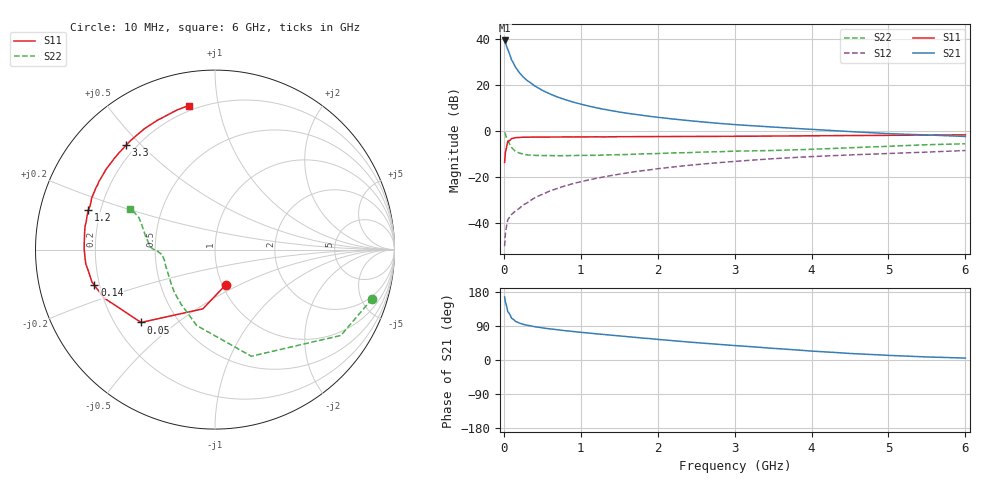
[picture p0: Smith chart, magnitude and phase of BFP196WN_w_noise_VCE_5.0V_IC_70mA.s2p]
! Infineon Technologies  Discrete & RF Semiconductors
! BFP196WN
! VCE =  5.0 V,  IC =  70 mA
! Common Emitter S-Parameters:  Jan 2017
# GHz  S  MA  R  50
!  f  S11  S21  S12  S22
! GHz  MAG  ANG  MAG  ANG  MAG  ANG  MAG  ANG
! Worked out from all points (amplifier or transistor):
!   77 points, 10 MHz to 6 GHz, reference 50 ohm
!   highest |S21| = 39.3 dB at 10 MHz (marker M1)
!   |S21| within 3 dB of that: start of sweep to 40.53 MHz
!   unconditionally stable (mu >= 1): 565.2 MHz to 2.628 GHz
!   at 130 MHz: K = 0.63, MSG = 32.3 dB, |S12| = -35.5 dB
!   at 2.2 GHz: K = 1.02, MAG = 9.7 dB, |S12| = -15.8 dB
!   at 6 GHz: K = 0.91, MSG = 3.1 dB, |S12| = -8.6 dB
!   lowest NFmin = 1.47 dB at 450 MHz
!   S11 on the Smith chart (normalised r, x): 10 MHz: 1.04, -0.43; 50 MHz: 0.31, -0.38; 140 MHz: 0.18, -0.14; 1.2 GHz: 0.15, +0.15; 3.3 GHz: 0.16, +0.45; 6 GHz: 0.17, +0.82
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0.01  0.2053 -73.1  92.03 166.5  0.0031 82.5  0.9172 -17.4
0.02  0.3371 -101.6  83.3 153.1  0.0057 70.0  0.8489 -34.3
0.05  0.5783 -135.4  59.02 127.7  0.0114 51.6  0.6276 -71.2
0.1  0.6746 -156.5  34.86 110.2  0.0152 54.0  0.4356 -103.4
0.14  0.7008 -163.5  26.41 104.4  0.0174 53.6  0.3706 -117.5
0.15  0.7089 -165.2  24.35 102.3  0.0179 53.5  0.3586 -121.7
0.2  0.7155 -170.4  18.52 97.6  0.0205 58.7  0.3291 -133.4
0.25  0.7244 -173.7  14.92 94.2  0.0243 60.6  0.3119 -140.9
0.3  0.7254 -176.4  12.51 91.9  0.0269 63.2  0.3004 -147.2
0.4  0.729 179.7  9.449 87.8  0.0347 66.3  0.2923 -154.4
0.5  0.7295 176.8  7.565 84.8  0.0415 68.4  0.2898 -159.6
0.7  0.733 172.1  5.413 79.8  0.056 70.4  0.2869 -165.9
0.9  0.7342 168.0  4.21 75.2  0.071 70.2  0.2896 -169.3
1.1  0.738 164.2  3.458 71.2  0.0853 69.9  0.292 -172.1
1.2  0.7394 162.5  3.172 69.1  0.0922 69.5  0.2931 -173.1
1.6  0.7452 155.9  2.41 61.7  0.1211 67.4  0.3046 -176.0
2.1  0.75 148.1  1.883 52.7  0.1564 63.8  0.3253 -178.8
3.1  0.7603 133.2  1.331 36.8  0.2221 55.3  0.363 176.7
3.3  0.7636 130.4  1.266 33.9  0.2346 53.5  0.3679 175.3
4.1  0.781 119.0  1.051 22.3  0.2795 46.5  0.4017 167.2
5.1  0.798 108.2  0.856 11.4  0.3252 38.8  0.4673 156.8
6  0.8155 100.3  0.753 5.0  0.3722 32.8  0.5223 154.5
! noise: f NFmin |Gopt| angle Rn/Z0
0.45  1.47  0.57  -176  0.05
0.9  1.6  0.58  -169  0.06
1.9  2.54  0.7  -147  0.19
2.4  3.34  0.71  -139  0.32
